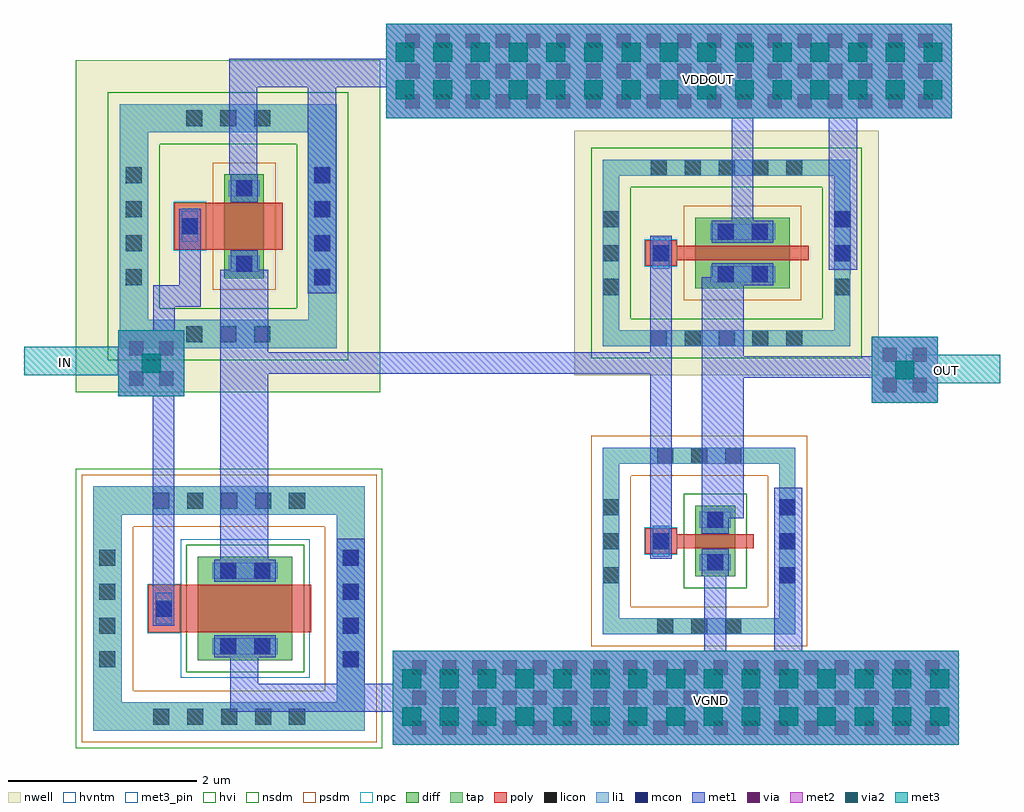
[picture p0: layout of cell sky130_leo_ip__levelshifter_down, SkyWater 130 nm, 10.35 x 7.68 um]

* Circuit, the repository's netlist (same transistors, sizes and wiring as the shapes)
** sch_path: /home/leo/Projects/IPs/sky130_leo_ip__levelshifter/xschem/sky130_leo_ip__levelshifter_down.sch
.subckt sky130_leo_ip__levelshifter_down VDDOUT OUT IN VGND
*.PININFO IN:I VGND:B OUT:I VDDOUT:B
XM3 OUT n VGND VGND sky130_fd_pr__nfet_01v8 L=0.15 W=0.42 nf=1 m=1
XM4 OUT n VDDOUT VDDOUT sky130_fd_pr__pfet_01v8 L=0.15 W=1 nf=1 m=1
XM5 n IN VDDOUT VDDOUT sky130_fd_pr__pfet_g5v0d10v5 L=0.5 W=0.42 nf=1 m=1
XM6 n IN VGND VGND sky130_fd_pr__nfet_g5v0d10v5 L=0.5 W=1 nf=1 m=1
.ends
.end

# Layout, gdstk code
from math import pi, radians
import gdstk
lib = gdstk.Library(unit=1e-6, precision=1e-09)
def R(c, l, rs):  # rectangles x0, y0, x1, y1
    for r in rs: c.add(gdstk.rectangle(r[:2], r[2:], *l))
def A(c, l, x, y, w, h, nx, ny, dx, dy):  # array of equal rectangles
    R(c, l, [(x+i*dx, y+j*dy, x+i*dx+w, y+j*dy+h) for i in range(nx) for j in range(ny)])
def P(c, l, *ps):  # polygons
    for p in ps: c.add(gdstk.Polygon(p, *l))
nwell = (64, 20)
diff = (65, 20)
tap = (65, 44)
poly = (66, 20)
licon = (66, 44)
li1 = (67, 20)
mcon = (67, 44)
met1 = (68, 20)
via = (68, 44)
met2 = (69, 20)
via2 = (69, 44)
met3_pin = (70, 16)
met3 = (70, 20)
hvi = (75, 20)
nsdm = (93, 44)
psdm = (94, 20)
npc = (95, 20)
hvntm = (125, 20)

nfet = lib.new_cell('nfet')
R(nfet, diff, [(0,0,0.75,0.42)])
P(nfet, tap, [(-0.615,-0.64),(-0.615,1.23),(-0.445,1.23),(-0.445,-0.47),(1.195,-0.47),(1.195,1.23),(-0.615,1.23),(-0.615,1.4),(1.365,1.4),(1.365,-0.64)])
R(nfet, poly, [(0.3,-0.2,0.45,0.62), (0.24,0.62,0.51,0.95)])
A(nfet, licon, -0.07, -0.64, 0.17, 0.17, 3, 2, 0.36, 1.87)
A(nfet, licon, -0.615, -0.065, 0.17, 0.17, 1, 3, 0, 0.36)
A(nfet, licon, 1.195, -0.065, 0.17, 0.17, 1, 3, 0, 0.36)
R(nfet, licon, [(0.065,0.125,0.235,0.295), (0.515,0.125,0.685,0.295), (0.29,0.7,0.46,0.87)])
R(nfet, li1, [(0.065,0.045,0.235,0.375), (0.515,0.045,0.685,0.375), (0.21,0.7,0.54,0.87)])
P(nfet, li1, [(-0.615,-0.64),(-0.615,1.23),(-0.445,1.23),(-0.445,-0.47),(1.195,-0.47),(1.195,1.23),(-0.615,1.23),(-0.615,1.4),(1.365,1.4),(1.365,-0.64)])
R(nfet, mcon, [(0.065,0.125,0.235,0.295), (0.515,0.125,0.685,0.295), (0.29,0.7,0.46,0.87)])
R(nfet, met1, [(0.005,0.065,0.295,0.355), (0.455,0.065,0.745,0.355), (0.19,0.67,0.56,0.9)])
R(nfet, nsdm, [(-0.125,-0.125,0.875,0.545)])
P(nfet, psdm, [(-0.74,-0.765),(-0.74,1.105),(-0.32,1.105),(-0.32,-0.345),(1.07,-0.345),(1.07,1.105),(-0.74,1.105),(-0.74,1.525),(1.49,1.525),(1.49,-0.765)])
R(nfet, npc, [(0.23,0.61,0.52,0.96)])

pfet_3 = lib.new_cell('pfet$3')
R(pfet_3, nwell, [(-0.92,-0.945,1.67,2.285)])
R(pfet_3, diff, [(0,0,0.75,1)])
P(pfet_3, tap, [(-0.615,-0.64),(-0.615,1.81),(-0.445,1.81),(-0.445,-0.47),(1.195,-0.47),(1.195,1.81),(-0.615,1.81),(-0.615,1.98),(1.365,1.98),(1.365,-0.64)])
R(pfet_3, poly, [(0.3,-0.2,0.45,1.2), (0.24,1.2,0.51,1.53)])
A(pfet_3, licon, -0.07, -0.64, 0.17, 0.17, 3, 2, 0.36, 2.45)
A(pfet_3, licon, -0.615, -0.135, 0.17, 0.17, 1, 5, 0, 0.36)
A(pfet_3, licon, 1.195, -0.135, 0.17, 0.17, 1, 5, 0, 0.36)
R(pfet_3, licon, [(0.065,0.235,0.235,0.405), (0.515,0.235,0.685,0.405), (0.065,0.595,0.235,0.765), (0.515,0.595,0.685,0.765), (0.29,1.28,0.46,1.45)])
R(pfet_3, li1, [(0.065,0.155,0.235,0.845), (0.515,0.155,0.685,0.845), (0.21,1.28,0.54,1.45)])
P(pfet_3, li1, [(-0.615,-0.64),(-0.615,1.81),(-0.445,1.81),(-0.445,-0.47),(1.195,-0.47),(1.195,1.81),(-0.615,1.81),(-0.615,1.98),(1.365,1.98),(1.365,-0.64)])
R(pfet_3, mcon, [(0.065,0.235,0.235,0.405), (0.515,0.235,0.685,0.405), (0.065,0.595,0.235,0.765), (0.515,0.595,0.685,0.765), (0.29,1.28,0.46,1.45)])
R(pfet_3, met1, [(0.035,0.175,0.265,0.825), (0.485,0.175,0.715,0.825), (0.19,1.25,0.56,1.48)])
P(pfet_3, nsdm, [(-0.74,-0.765),(-0.74,1.685),(-0.32,1.685),(-0.32,-0.345),(1.07,-0.345),(1.07,1.685),(-0.74,1.685),(-0.74,2.105),(1.49,2.105),(1.49,-0.765)])
R(pfet_3, psdm, [(-0.125,-0.125,0.875,1.125)])
R(pfet_3, npc, [(0.23,1.19,0.52,1.54)])

pfet_1 = lib.new_cell('pfet$1')
R(pfet_1, nwell, [(-1.21,-1.235,2.31,1.995)])
R(pfet_1, diff, [(0,0,1.1,0.42)])
P(pfet_1, tap, [(-0.745,-0.77),(-0.745,1.23),(-0.445,1.23),(-0.445,-0.47),(1.545,-0.47),(1.545,1.23),(-0.745,1.23),(-0.745,1.53),(1.845,1.53),(1.845,-0.77)])
R(pfet_1, poly, [(0.3,-0.2,0.8,0.62), (0.3,0.62,0.8,0.95)])
A(pfet_1, licon, -0.075, -0.705, 0.17, 0.17, 4, 2, 0.36, 2)
A(pfet_1, licon, -0.68, -0.065, 0.17, 0.17, 1, 3, 0, 0.36)
A(pfet_1, licon, 1.61, -0.065, 0.17, 0.17, 1, 3, 0, 0.36)
R(pfet_1, licon, [(0.065,0.125,0.235,0.295), (0.865,0.125,1.035,0.295), (0.465,0.7,0.635,0.87)])
R(pfet_1, li1, [(0.065,0.045,0.235,0.375), (0.865,0.045,1.035,0.375), (0.385,0.7,0.715,0.87)])
P(pfet_1, li1, [(-0.745,-0.77),(-0.745,1.23),(-0.445,1.23),(-0.445,-0.47),(1.545,-0.47),(1.545,1.23),(-0.745,1.23),(-0.745,1.53),(1.845,1.53),(1.845,-0.77)])
R(pfet_1, mcon, [(0.065,0.125,0.235,0.295), (0.865,0.125,1.035,0.295), (0.465,0.7,0.635,0.87)])
R(pfet_1, met1, [(0.005,0.065,0.295,0.355), (0.805,0.065,1.095,0.355), (0.365,0.67,0.735,0.9)])
R(pfet_1, hvi, [(-1.21,-1.235,2.31,1.995)])
P(pfet_1, nsdm, [(-0.87,-0.895),(-0.87,1.105),(-0.32,1.105),(-0.32,-0.345),(1.42,-0.345),(1.42,1.105),(-0.87,1.105),(-0.87,1.655),(1.97,1.655),(1.97,-0.895)])
R(pfet_1, psdm, [(-0.125,-0.125,1.225,0.545)])
R(pfet_1, npc, [(0.29,0.61,0.81,0.96)])

vias_gen = lib.new_cell('vias_gen')
R(vias_gen, met1, [(0,0,0.7,0.7)])
R(vias_gen, via, [(0.115,0.115,0.265,0.265), (0.435,0.115,0.585,0.265), (0.115,0.435,0.265,0.585), (0.435,0.435,0.585,0.585)])
R(vias_gen, met2, [(0,0,0.7,0.7)])
R(vias_gen, via2, [(0.25,0.25,0.45,0.45)])
R(vias_gen, met3, [(0,0,0.7,0.7)])

vias_gen_1 = lib.new_cell('vias_gen$1')
R(vias_gen_1, met1, [(0,0,6,1)])
A(vias_gen_1, via, 0.205, 0.105, 0.15, 0.15, 18, 3, 0.32, 0.32)
R(vias_gen_1, met2, [(0,0,6,1)])
A(vias_gen_1, via2, 0.1, 0.2, 0.2, 0.2, 15, 2, 0.4, 0.4)
R(vias_gen_1, met3, [(0,0,6,1)])

nfet_3 = lib.new_cell('nfet$3')
R(nfet_3, diff, [(0,0,1.1,1)])
P(nfet_3, tap, [(-0.745,-0.77),(-0.745,1.81),(-0.445,1.81),(-0.445,-0.47),(1.545,-0.47),(1.545,1.81),(-0.745,1.81),(-0.745,2.11),(1.845,2.11),(1.845,-0.77)])
R(nfet_3, poly, [(0.3,-0.2,0.8,1.2), (0.3,1.2,0.8,1.53)])
A(nfet_3, licon, -0.075, -0.705, 0.17, 0.17, 4, 2, 0.36, 2.58)
A(nfet_3, licon, -0.68, -0.135, 0.17, 0.17, 1, 5, 0, 0.36)
A(nfet_3, licon, 1.61, -0.135, 0.17, 0.17, 1, 5, 0, 0.36)
R(nfet_3, licon, [(0.065,0.235,0.235,0.405), (0.865,0.235,1.035,0.405), (0.065,0.595,0.235,0.765), (0.865,0.595,1.035,0.765), (0.465,1.28,0.635,1.45)])
R(nfet_3, li1, [(0.065,0.155,0.235,0.845), (0.865,0.155,1.035,0.845), (0.385,1.28,0.715,1.45)])
P(nfet_3, li1, [(-0.745,-0.77),(-0.745,1.81),(-0.445,1.81),(-0.445,-0.47),(1.545,-0.47),(1.545,1.81),(-0.745,1.81),(-0.745,2.11),(1.845,2.11),(1.845,-0.77)])
R(nfet_3, mcon, [(0.065,0.235,0.235,0.405), (0.865,0.235,1.035,0.405), (0.065,0.595,0.235,0.765), (0.865,0.595,1.035,0.765), (0.465,1.28,0.635,1.45)])
R(nfet_3, met1, [(0.035,0.175,0.265,0.825), (0.835,0.175,1.065,0.825), (0.365,1.25,0.735,1.48)])
R(nfet_3, hvi, [(-0.93,-0.955,2.03,2.295)])
R(nfet_3, nsdm, [(-0.125,-0.125,1.225,1.125)])
P(nfet_3, psdm, [(-0.87,-0.895),(-0.87,1.685),(-0.32,1.685),(-0.32,-0.345),(1.42,-0.345),(1.42,1.685),(-0.87,1.685),(-0.87,2.235),(1.97,2.235),(1.97,-0.895)])
R(nfet_3, npc, [(0.29,1.19,0.81,1.54)])
R(nfet_3, hvntm, [(-0.185,-0.185,1.285,1.185)])

sky130_leo_ip__levelshif = lib.new_cell('sky130_leo_ip__levelshifter_down')
R(sky130_leo_ip__levelshif, li1, [(2.465,4.72,2.765,6.35), (8.04,5.025,8.215,5.805)])
A(sky130_leo_ip__levelshif, mcon, 2.83, 0.855, 0.17, 0.17, 1, 4, 0, 0.36)
A(sky130_leo_ip__levelshif, mcon, 7.46, 1.75, 0.17, 0.17, 1, 3, 0, 0.36)
A(sky130_leo_ip__levelshif, mcon, 2.53, 4.91, 0.17, 0.17, 1, 4, 0, 0.36)
R(sky130_leo_ip__levelshif, mcon, [(8.04,5.165,8.21,5.335), (8.04,5.525,8.21,5.695)])
R(sky130_leo_ip__levelshif, met1, [(2.765,0.63,3.065,2.22), (7.405,0.91,7.705,2.76), (6.665,0.97,6.895,1.875), (0.815,1.48,1.045,4.13), (1.53,1.975,2.04,5.075), (6.09,2.22,6.32,5.065), (6.635,2.44,7.085,4.995), (6.98,3.925,8.525,4.155), (1.97,3.97,5.495,4.2), (5.38,3.97,6.185,4.2), (2.46,4.825,2.76,7.03), (7.985,5.075,8.285,6.8), (6.955,5.545,7.185,6.745)])
P(sky130_leo_ip__levelshif, met1, [(0.82,3.975),(0.82,4.91),(1.095,4.91),(1.095,5.35),(1.325,5.35),(1.325,4.68),(1.05,4.68),(1.05,3.975)],
  [(1.625,6.08),(1.625,7.31),(3.425,7.31),(3.425,7.01),(1.925,7.01),(1.925,6.08)],
  [(1.635,0.385),(1.635,1.07),(1.935,1.07),(1.935,0.685),(3.46,0.685),(3.46,0.385)])
R(sky130_leo_ip__levelshif, met3_pin, [(3.36,0.035,9.36,1.035), (8.8,3.87,9.8,4.17), (-0.55,3.955,0.45,4.255), (3.29,6.68,9.29,7.68)])
R(sky130_leo_ip__levelshif, met3, [(8.8,3.87,9.8,4.17), (-0.55,3.955,0.45,4.255)])
sky130_leo_ip__levelshif.add(gdstk.Reference(nfet, (6.99,1.82), rotation=pi/2))
sky130_leo_ip__levelshif.add(gdstk.Reference(pfet_3, (7.57,4.875), rotation=pi/2))
sky130_leo_ip__levelshif.add(gdstk.Reference(pfet_1, (1.995,4.985), rotation=pi/2))
sky130_leo_ip__levelshif.add(gdstk.Reference(vias_gen, (0.45,3.73)))
sky130_leo_ip__levelshif.add(gdstk.Reference(vias_gen, (8.44,3.66)))
sky130_leo_ip__levelshif.add(gdstk.Reference(vias_gen_1, (3.29,6.68)))
sky130_leo_ip__levelshif.add(gdstk.Reference(vias_gen_1, (3.36,0.035)))
sky130_leo_ip__levelshif.add(gdstk.Reference(nfet_3, (2.295,0.93), rotation=pi/2))
sky130_leo_ip__levelshif.add(gdstk.Label('IN', (-0.115,4.085), layer=70, texttype=5))
sky130_leo_ip__levelshif.add(gdstk.Label('OUT', (9.235,4), layer=70, texttype=5))
sky130_leo_ip__levelshif.add(gdstk.Label('VDDOUT', (6.705,7.085), layer=70, texttype=5))
sky130_leo_ip__levelshif.add(gdstk.Label('VGND', (6.74,0.51), layer=70, texttype=5))

lib.write_gds('sky130_leo_ip__levelshifter_down.gds')
